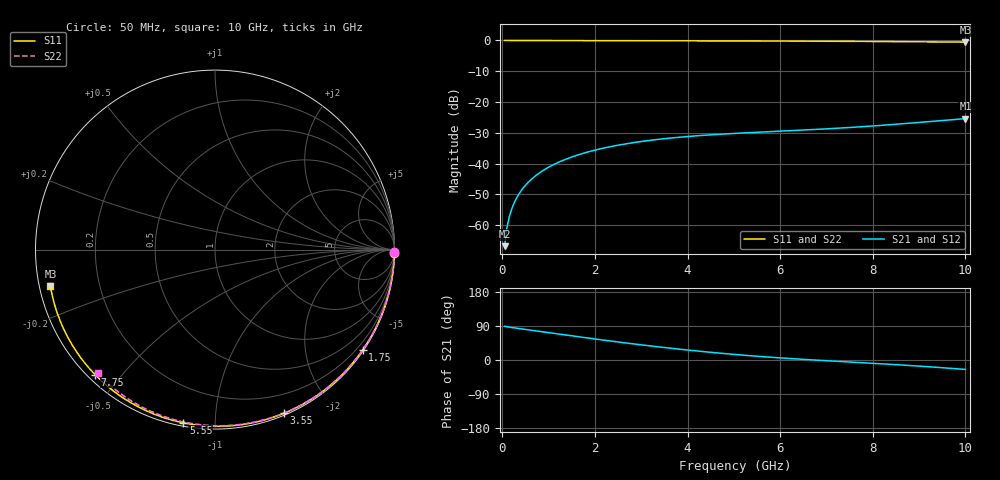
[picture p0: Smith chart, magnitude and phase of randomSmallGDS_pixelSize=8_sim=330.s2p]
! freq	dB(S11)	phase(S11)	dB(S12)	phase(S12)
!  dB(S21)	phase(S21)	dB(S22)	phase(S22)
!S-par simulation data
#  GHz  S  DB  R 50
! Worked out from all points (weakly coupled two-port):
!   200 points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, 50 MHz to 10 GHz, reference 50 ohm
!   highest |S21| = -25.41 dB at 10 GHz (marker M1); lowest = -66.9 dB at 50 MHz (marker M2)
!   lowest |S11| = -0.5 dB at 10 GHz (marker M3), VSWR 31.97, Z = 1.58 - j5.5 ohm
!   |S11| at or under -10 dB: nowhere
!   |S22| runs from -0.4 to 0.0 dB; largest |S21 - S12| = 0
!   S11 on the Smith chart (normalised r, x): 50 MHz: open; 1.75 GHz: 0.03, -3.25; 3.55 GHz: 0.02, -1.51; 5.55 GHz: 0.02, -0.83; 7.75 GHz: 0.02, -0.43; 10 GHz: 0.03, -0.11
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0.05  -0.00 -1.0  -66.86 88.8  -66.86 88.8  -0.00 -0.8
0.1  -0.00 -2.0  -60.87 87.7  -60.87 87.7  -0.00 -1.6
0.15  -0.00 -3.0  -57.38 86.7  -57.38 86.7  -0.00 -2.4
0.2  -0.00 -4.0  -54.91 85.8  -54.91 85.8  -0.00 -3.1
0.25  -0.00 -5.0  -53.00 84.9  -53.00 84.9  -0.00 -3.9
0.35  -0.01 -7.0  -50.12 83.1  -50.12 83.1  -0.00 -5.5
0.5  -0.01 -9.9  -47.07 80.6  -47.07 80.6  -0.01 -7.8
0.7  -0.02 -13.9  -44.21 77.2  -44.21 77.2  -0.01 -10.9
1  -0.02 -19.7  -41.20 72.1  -41.20 72.1  -0.02 -15.6
1.35  -0.03 -26.5  -38.73 66.2  -38.73 66.2  -0.03 -21.0
1.75  -0.04 -34.2  -36.67 59.5  -36.67 59.5  -0.04 -27.0
2.6  -0.07 -50.1  -33.78 46.0  -33.78 46.0  -0.05 -39.8
3.4  -0.09 -64.5  -32.09 34.3  -32.09 34.3  -0.07 -51.4
3.55  -0.09 -67.1  -31.85 32.2  -31.85 32.2  -0.07 -53.5
4.3  -0.12 -80.0  -30.88 22.6  -30.88 22.6  -0.09 -64.0
5.05  -0.14 -92.4  -30.18 14.3  -30.18 14.3  -0.12 -74.1
5.55  -0.17 -100.4  -29.80 9.5  -29.80 9.5  -0.13 -80.6
6.7  -0.23 -118.1  -28.97 0.2  -28.97 0.2  -0.19 -95.1
7.75  -0.31 -133.8  -28.05 -7.0  -28.05 -7.0  -0.25 -107.8
8.35  -0.36 -142.7  -27.41 -11.1  -27.41 -11.1  -0.29 -114.8
9.2  -0.45 -155.3  -26.41 -17.7  -26.41 -17.7  -0.37 -124.5
10  -0.54 -167.4  -25.41 -24.8  -25.41 -24.8  -0.45 -133.5
